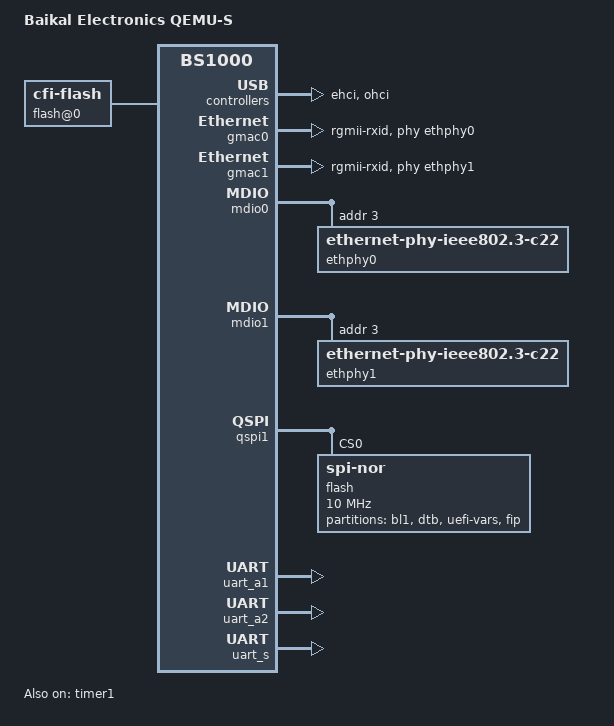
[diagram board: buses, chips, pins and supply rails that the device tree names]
// SPDX-License-Identifier: GPL-2.0
/*
 * Device tree source for Baikal Electronics QEMU-S virtual platform
 * Copyright (C) 2021-2022 Baikal Electronics, JSC
 */

/dts-v1/;

#include "bs1000.dtsi"

/ {
	model = "Baikal Electronics QEMU-S";
	compatible = "baikal,qemu-s", "baikal,bs1000";

	aliases {
		ethernet0 = &gmac0;
		ethernet1 = &gmac1;
	};

	chosen { };

	/*
	 * Device is necessary for UEFI to boot on QEMU,
	 * need to replace it with something later.
	 */
	flash@0 {
		compatible = "cfi-flash";
		reg = <0x0 0x4000000 0x0 0x4000000>;
		bank-width = <0x4>;
	};
};

&ehci {
	status = "okay";
};

&gmac0 {
	status = "okay";
	phy-handle = <&ethphy0>;
	phy-mode = "rgmii-rxid";
};

&gmac1 {
	status = "okay";
	phy-handle = <&ethphy1>;
	phy-mode = "rgmii-rxid";
};

&mdio0 {
	ethphy0: ethernet-phy@3 {
		compatible = "ethernet-phy-ieee802.3-c22";
		reg = <0x3>;
	};
};

&mdio1 {
	ethphy1: ethernet-phy@3 {
		compatible = "ethernet-phy-ieee802.3-c22";
		reg = <0x3>;
	};
};

&ohci {
	status = "okay";
};

&qspi1 {
	num-cs = <4>;
	status = "okay";

	flash@0 {
		compatible = "jedec,spi-nor";
		reg = <0>;
		#address-cells = <1>;
		#size-cells = <1>;
		spi-max-frequency = <10000000>;
		spi-tx-bus-width = <1>;
		spi-rx-bus-width = <1>;
		status = "okay";

		partitions {
			compatible = "fixed-partitions";
			#address-cells = <1>;
			#size-cells = <1>;

			partition@0 {
				label = "bl1";
				reg = <0x000000 0x40000>;
			};

			partition@40000 {
				label = "dtb";
				reg = <0x040000 0x40000>;
			};

			partition@80000 {
				label = "uefi-vars";
				reg = <0x080000 0xc0000>;
			};

			partition@140000 {
				label = "fip";
				reg = <0x140000 0x6c0000>;
			};
		};
	};
};

&timer1 {
	status = "okay";
};

&uart_a1 {
	status = "okay";
};

&uart_a2 {
	status = "okay";
};

&uart_s {
	status = "okay";
};
